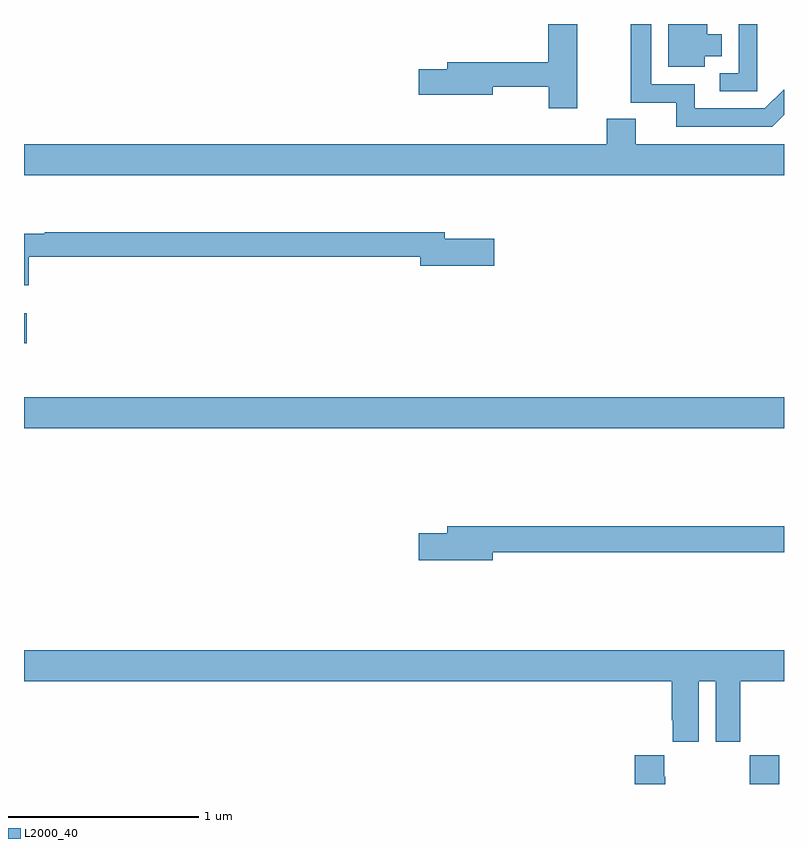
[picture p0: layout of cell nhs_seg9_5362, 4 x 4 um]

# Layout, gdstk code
import gdstk
lib = gdstk.Library(unit=1e-6, precision=1e-09)
def R(c, l, rs):  # rectangles x0, y0, x1, y1
    for r in rs: c.add(gdstk.rectangle(r[:2], r[2:], *l))
def P(c, l, *ps):  # polygons
    for p in ps: c.add(gdstk.Polygon(p, *l))
L2000_40 = (2000, 40)

nhs_seg9_5362 = lib.new_cell('nhs_seg9_5362')
R(nhs_seg9_5362, L2000_40, [(424.819,1242.5,424.974,1242.652), (421,1244.372,425,1244.536), (421,1244.819,421.015,1244.977)])
P(nhs_seg9_5362, L2000_40, [(423.912,1246.5),(423.758,1246.5),(423.758,1246.298),(423.227,1246.298),(423.227,1246.262),(423.078,1246.262),(423.078,1246.127),(423.466,1246.127),(423.466,1246.17),(423.763,1246.17),(423.763,1246.056),(423.912,1246.056)],
  [(424.582,1246.331),(424.672,1246.331),(424.672,1246.447),(424.597,1246.447),(424.597,1246.5),(424.391,1246.5),(424.391,1246.274),(424.582,1246.274)],
  [(425,1246.022),(425,1246.155),(424.998,1246.155),(424.899,1246.056),(424.531,1246.056),(424.531,1246.182),(424.302,1246.182),(424.302,1246.5),(424.194,1246.5),(424.194,1246.086),(424.433,1246.086),(424.433,1245.96),(424.938,1245.96)],
  [(424.859,1246.5),(424.761,1246.5),(424.761,1246.242),(424.662,1246.242),(424.662,1246.146),(424.859,1246.146)],
  [(425,1245.868),(424.219,1245.868),(424.219,1246.001),(424.067,1246.001),(424.067,1245.868),(421,1245.868),(421,1245.704),(425,1245.704)],
  [(421.025,1245.274),(423.086,1245.274),(423.086,1245.227),(423.475,1245.227),(423.475,1245.369),(423.214,1245.369),(423.214,1245.403),(421.108,1245.403),(421.108,1245.396),(421,1245.396),(421,1245.125),(421.025,1245.125)],
  [(423.466,1243.72),(425,1243.72),(425,1243.856),(423.227,1243.856),(423.227,1243.82),(423.078,1243.82),(423.078,1243.678),(423.466,1243.678)],
  [(424.552,1243.04),(424.64,1243.04),(424.64,1242.723),(424.771,1242.723),(424.771,1243.04),(425,1243.04),(425,1243.204),(421,1243.204),(421,1243.04),(424.409,1243.04),(424.409,1242.835),(424.415,1242.835),(424.415,1242.723),(424.552,1242.723)],
  [(424.374,1242.539),(424.369,1242.539),(424.369,1242.652),(424.214,1242.652),(424.214,1242.5),(424.374,1242.5)])

lib.write_gds('nhs_seg9_5362.gds')
